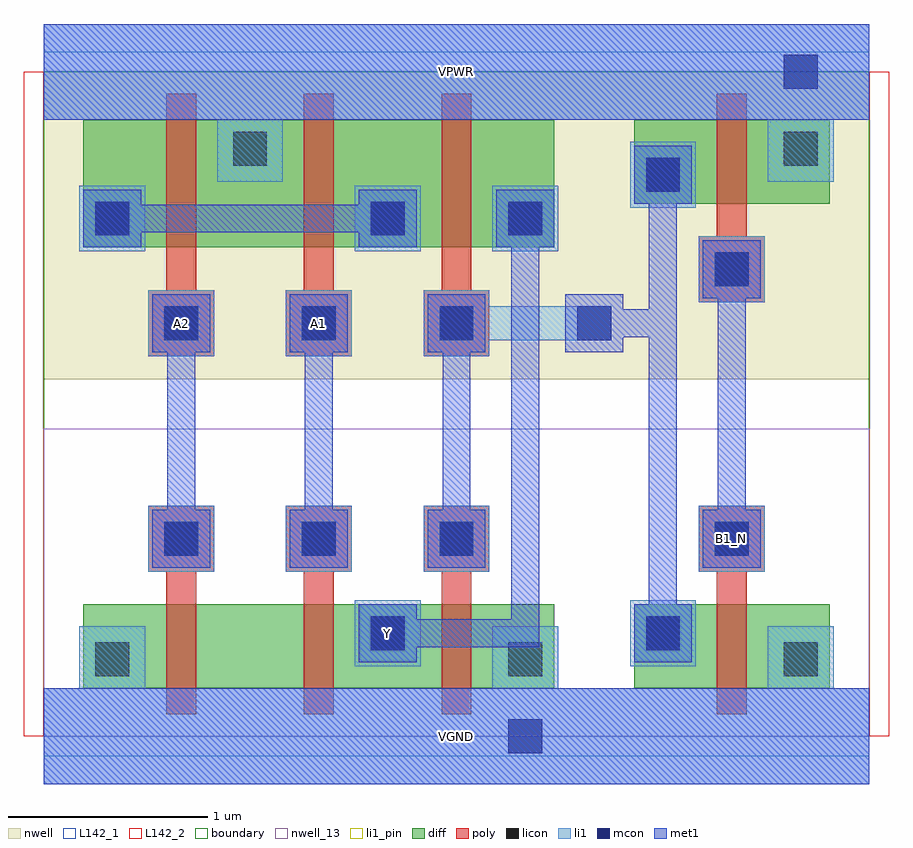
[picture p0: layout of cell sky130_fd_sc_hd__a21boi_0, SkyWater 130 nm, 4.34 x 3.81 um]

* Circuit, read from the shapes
.subckt sky130_fd_sc_hd__a21boi_0 A1 A2 B1_N VGND VPWR Y
XM1 n1 A2 VGND VSUBS sky130_fd_pr__nfet_01v8 w=0.42 l=0.15
XM2 Y A1 n1 VSUBS sky130_fd_pr__nfet_01v8 w=0.42 l=0.15
XM3 VGND n2 Y VSUBS sky130_fd_pr__nfet_01v8 w=0.42 l=0.15
XM4 VGND B1_N n2 VSUBS sky130_fd_pr__nfet_01v8 w=0.42 l=0.15
XM5 VPWR A2 n3 n4 sky130_fd_pr__pfet_01v8 w=0.64 l=0.15
XM6 n3 A1 VPWR n4 sky130_fd_pr__pfet_01v8 w=0.64 l=0.15
XM7 Y n2 n3 n4 sky130_fd_pr__pfet_01v8 w=0.64 l=0.15
XM8 VPWR B1_N n2 n4 sky130_fd_pr__pfet_01v8 w=0.42 l=0.15
.ends

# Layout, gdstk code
import gdstk
lib = gdstk.Library(unit=1e-6, precision=1e-09)
def R(c, l, rs):  # rectangles x0, y0, x1, y1
    for r in rs: c.add(gdstk.rectangle(r[:2], r[2:], *l))
def A(c, l, x, y, w, h, nx, ny, dx, dy):  # array of equal rectangles
    R(c, l, [(x+i*dx, y+j*dy, x+i*dx+w, y+j*dy+h) for i in range(nx) for j in range(ny)])
def P(c, l, *ps):  # polygons
    for p in ps: c.add(gdstk.Polygon(p, *l))
nwell_13 = (64, 13)
nwell = (64, 20)
diff = (65, 20)
poly = (66, 20)
licon = (66, 44)
li1_pin = (67, 16)
li1 = (67, 20)
mcon = (67, 44)
met1 = (68, 20)
L142_1 = (142, 1)
L142_2 = (142, 2)
boundary = (235, 4)

sky130_fd_sc_hd__a21boi_ = lib.new_cell('sky130_fd_sc_hd__a21boi_0')
R(sky130_fd_sc_hd__a21boi_, nwell_13, [(0,0,4.14,1.54)])
R(sky130_fd_sc_hd__a21boi_, nwell, [(0,1.79,4.14,3.33)])
R(sky130_fd_sc_hd__a21boi_, diff, [(0.2,0.24,2.56,0.66), (0.2,0.24,0.615,0.66), (0.615,0.24,1.305,0.66), (1.305,0.24,1.995,0.66), (1.995,0.24,2.56,0.66), (2.96,0.24,3.94,0.66), (2.96,0.24,3.375,0.66), (3.375,0.24,3.94,0.66), (0.2,2.45,2.56,3.09), (0.2,2.45,0.615,3.09), (0.615,2.45,1.305,3.09), (1.305,2.45,1.995,3.09), (1.995,2.45,2.56,3.09), (2.96,2.67,3.94,3.09), (2.96,2.67,3.375,3.09), (3.375,2.67,3.94,3.09)])
P(sky130_fd_sc_hd__a21boi_, poly, [(3.375,0.11),(3.375,0.825),(3.285,0.825),(3.285,1.155),(3.615,1.155),(3.615,0.825),(3.525,0.825),(3.525,0.11)],
  [(3.285,2.175),(3.285,2.505),(3.375,2.505),(3.375,3.22),(3.525,3.22),(3.525,2.505),(3.615,2.505),(3.615,2.175)],
  [(0.615,0.11),(0.615,0.825),(0.525,0.825),(0.525,1.155),(0.855,1.155),(0.855,0.825),(0.765,0.825),(0.765,0.11)],
  [(0.525,1.905),(0.525,2.235),(0.615,2.235),(0.615,3.22),(0.765,3.22),(0.765,2.235),(0.855,2.235),(0.855,1.905)],
  [(1.305,0.11),(1.305,0.825),(1.215,0.825),(1.215,1.155),(1.545,1.155),(1.545,0.825),(1.455,0.825),(1.455,0.11)],
  [(1.215,1.905),(1.215,2.235),(1.305,2.235),(1.305,3.22),(1.455,3.22),(1.455,2.235),(1.545,2.235),(1.545,1.905)],
  [(1.995,0.11),(1.995,0.825),(1.905,0.825),(1.905,1.155),(2.235,1.155),(2.235,0.825),(2.145,0.825),(2.145,0.11)],
  [(1.905,1.905),(1.905,2.235),(1.995,2.235),(1.995,3.22),(2.145,3.22),(2.145,2.235),(2.235,2.235),(2.235,1.905)])
A(sky130_fd_sc_hd__a21boi_, licon, 0.605, 0.905, 0.17, 0.17, 3, 2, 0.69, 1.08)
R(sky130_fd_sc_hd__a21boi_, licon, [(0.26,0.3,0.43,0.47), (2.33,0.3,2.5,0.47), (3.71,0.3,3.88,0.47), (1.64,0.43,1.81,0.6), (3.02,0.43,3.19,0.6), (3.365,0.905,3.535,1.075), (3.365,2.255,3.535,2.425), (0.26,2.51,0.43,2.68), (1.64,2.51,1.81,2.68), (2.33,2.51,2.5,2.68), (3.02,2.73,3.19,2.9), (0.95,2.86,1.12,3.03), (3.71,2.86,3.88,3.03)])
R(sky130_fd_sc_hd__a21boi_, li1_pin, [(0,-0.24,4.14,0.24), (1.56,0.35,1.89,0.68), (3.285,0.825,3.615,1.155), (0.525,1.905,0.855,2.235), (1.215,1.905,1.545,2.235), (0,3.09,4.14,3.57)])
A(sky130_fd_sc_hd__a21boi_, li1, 0.525, 0.825, 0.33, 0.33, 3, 1, 0.69, 0)
R(sky130_fd_sc_hd__a21boi_, li1, [(1.56,0.35,1.89,0.68), (2.94,0.35,3.27,0.68), (3.285,0.825,3.615,1.155), (0.525,1.905,0.855,2.235), (1.215,1.905,1.545,2.235), (3.285,2.175,3.615,2.505), (0.18,2.43,0.51,2.76), (1.56,2.43,1.89,2.76), (2.25,2.43,2.58,2.76), (2.94,2.65,3.27,2.98)])
P(sky130_fd_sc_hd__a21boi_, li1, [(0.87,2.78),(0.87,3.09),(0,3.09),(0,3.57),(4.14,3.57),(4.14,3.09),(3.96,3.09),(3.96,2.78),(3.63,2.78),(3.63,3.09),(1.2,3.09),(1.2,2.78)],
  [(0,-0.24),(0,0.24),(0.18,0.24),(0.18,0.55),(0.51,0.55),(0.51,0.24),(2.25,0.24),(2.25,0.55),(2.58,0.55),(2.58,0.24),(3.63,0.24),(3.63,0.55),(3.96,0.55),(3.96,0.24),(4.14,0.24),(4.14,-0.24)],
  [(1.905,1.905),(1.905,2.235),(2.235,2.235),(2.235,2.155),(2.845,2.155),(2.845,1.985),(2.235,1.985),(2.235,1.905)])
A(sky130_fd_sc_hd__a21boi_, mcon, 0.605, 0.905, 0.17, 0.17, 3, 1, 0.69, 0)
A(sky130_fd_sc_hd__a21boi_, mcon, 0.605, 1.985, 0.17, 0.17, 4, 1, 0.69, 0)
R(sky130_fd_sc_hd__a21boi_, mcon, [(2.33,-0.085,2.5,0.085), (1.64,0.43,1.81,0.6), (3.02,0.43,3.19,0.6), (3.365,0.905,3.535,1.075), (3.365,2.255,3.535,2.425), (0.26,2.51,0.43,2.68), (1.64,2.51,1.81,2.68), (2.33,2.51,2.5,2.68), (3.02,2.73,3.19,2.9), (3.71,3.245,3.88,3.415)])
R(sky130_fd_sc_hd__a21boi_, met1, [(0,-0.24,4.14,0.24), (0,3.09,4.14,3.57)])
P(sky130_fd_sc_hd__a21boi_, met1, [(1.58,0.37),(1.58,0.66),(1.87,0.66),(1.87,0.585),(2.345,0.585),(2.345,2.45),(2.27,2.45),(2.27,2.74),(2.56,2.74),(2.56,2.45),(2.485,2.45),(2.485,0.445),(1.87,0.445),(1.87,0.37)],
  [(3.305,0.845),(3.305,1.135),(3.38,1.135),(3.38,2.195),(3.305,2.195),(3.305,2.485),(3.595,2.485),(3.595,2.195),(3.52,2.195),(3.52,1.135),(3.595,1.135),(3.595,0.845)],
  [(0.545,0.845),(0.545,1.135),(0.62,1.135),(0.62,1.925),(0.545,1.925),(0.545,2.215),(0.835,2.215),(0.835,1.925),(0.76,1.925),(0.76,1.135),(0.835,1.135),(0.835,0.845)],
  [(0.2,2.45),(0.2,2.74),(0.49,2.74),(0.49,2.665),(1.58,2.665),(1.58,2.74),(1.87,2.74),(1.87,2.45),(1.58,2.45),(1.58,2.525),(0.49,2.525),(0.49,2.45)],
  [(1.235,0.845),(1.235,1.135),(1.31,1.135),(1.31,1.925),(1.235,1.925),(1.235,2.215),(1.525,2.215),(1.525,1.925),(1.45,1.925),(1.45,1.135),(1.525,1.135),(1.525,0.845)],
  [(1.925,0.845),(1.925,1.135),(2,1.135),(2,1.925),(1.925,1.925),(1.925,2.215),(2.215,2.215),(2.215,1.925),(2.14,1.925),(2.14,1.135),(2.215,1.135),(2.215,0.845)],
  [(2.96,0.37),(2.96,0.66),(3.035,0.66),(3.035,2),(2.905,2),(2.905,1.925),(2.615,1.925),(2.615,2.215),(2.905,2.215),(2.905,2.14),(3.035,2.14),(3.035,2.67),(2.96,2.67),(2.96,2.96),(3.25,2.96),(3.25,2.67),(3.175,2.67),(3.175,0.66),(3.25,0.66),(3.25,0.37)])
R(sky130_fd_sc_hd__a21boi_, L142_1, [(0,-0.1,4.14,0), (0,3.33,4.14,3.43)])
R(sky130_fd_sc_hd__a21boi_, L142_2, [(-0.1,0,0,3.33), (4.14,0,4.24,3.33)])
R(sky130_fd_sc_hd__a21boi_, boundary, [(0,0,4.14,3.33)])
sky130_fd_sc_hd__a21boi_.add(gdstk.Label('Y', (1.725,0.515), layer=67, texttype=5))
sky130_fd_sc_hd__a21boi_.add(gdstk.Label('B1_N', (3.45,0.99), layer=67, texttype=5))
sky130_fd_sc_hd__a21boi_.add(gdstk.Label('A2', (0.69,2.07), layer=67, texttype=5))
sky130_fd_sc_hd__a21boi_.add(gdstk.Label('A1', (1.38,2.07), layer=67, texttype=5))
sky130_fd_sc_hd__a21boi_.add(gdstk.Label('VGND', (2.07,0), layer=67, texttype=5))
sky130_fd_sc_hd__a21boi_.add(gdstk.Label('VPWR', (2.07,3.33), layer=67, texttype=5))
sky130_fd_sc_hd__a21boi_.add(gdstk.Label('VGND', (2.07,0), layer=68, texttype=5))
sky130_fd_sc_hd__a21boi_.add(gdstk.Label('VPWR', (2.07,3.33), layer=68, texttype=5))

lib.write_gds('sky130_fd_sc_hd__a21boi_0.gds')
